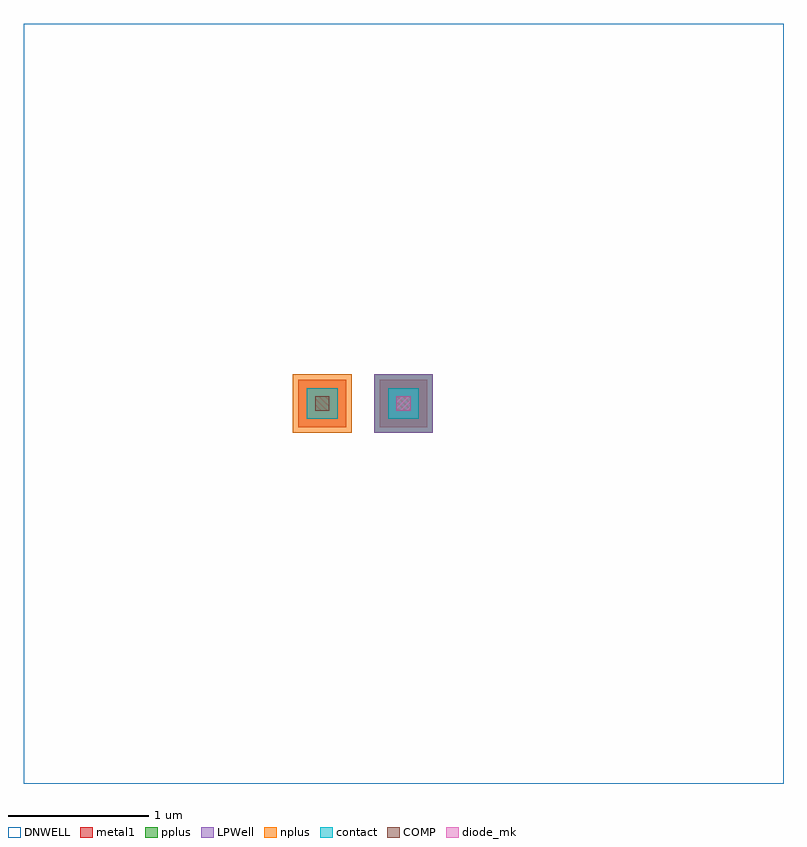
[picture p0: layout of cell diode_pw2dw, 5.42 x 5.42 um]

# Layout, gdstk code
import gdstk
lib = gdstk.Library(unit=1e-6, precision=1e-09)
def R(c, l, rs):  # rectangles x0, y0, x1, y1
    for r in rs: c.add(gdstk.rectangle(r[:2], r[2:], *l))
DNWELL = (12, 0)
COMP = (22, 0)
pplus = (31, 0)
nplus = (32, 0)
contact = (33, 0)
metal1 = (34, 0)
diode_mk = (115, 5)
LPWell = (204, 0)

compass_5c90cb24 = lib.new_cell('compass_5c90cb24')
R(compass_5c90cb24, COMP, [(-0.05,-0.05,0.05,0.05)])

rectangle_5c90cb24 = lib.new_cell('rectangle_5c90cb24')
rectangle_5c90cb24.add(gdstk.Reference(compass_5c90cb24, (0.05,0.05)))

compass_5f782b63 = lib.new_cell('compass_5f782b63')
R(compass_5f782b63, pplus, [(-0.21,-0.21,0.21,0.21)])

rectangle_5f782b63 = lib.new_cell('rectangle_5f782b63')
rectangle_5f782b63.add(gdstk.Reference(compass_5f782b63, (0.21,0.21)))

compass_cacfdad8 = lib.new_cell('compass_cacfdad8')
R(compass_cacfdad8, diode_mk, [(-0.05,-0.05,0.05,0.05)])

rectangle_cacfdad8 = lib.new_cell('rectangle_cacfdad8')
rectangle_cacfdad8.add(gdstk.Reference(compass_cacfdad8, (0.05,0.05)))

compass_28aa9406 = lib.new_cell('compass_28aa9406')
R(compass_28aa9406, LPWell, [(-0.21,-0.21,0.21,0.21)])

rectangle_28aa9406 = lib.new_cell('rectangle_28aa9406')
rectangle_28aa9406.add(gdstk.Reference(compass_28aa9406, (0.21,0.21)))

compass_f38dc993 = lib.new_cell('compass_f38dc993')
R(compass_f38dc993, contact, [(-0.11,-0.11,0.11,0.11)])

rectangle_f38dc993 = lib.new_cell('rectangle_f38dc993')
rectangle_f38dc993.add(gdstk.Reference(compass_f38dc993, (0.11,0.11)))

via_generator_fb634f5e = lib.new_cell('via_generator_fb634f5e')
r = gdstk.Reference(rectangle_f38dc993, (-0.06,-0.06)); r.repetition = gdstk.Repetition(1, 1, v1=(0.5,0), v2=(0,0.5)); via_generator_fb634f5e.add(r)

compass_02b66c81 = lib.new_cell('compass_02b66c81')
R(compass_02b66c81, metal1, [(-0.17,-0.17,0.17,0.17)])

rectangle_02b66c81 = lib.new_cell('rectangle_02b66c81')
rectangle_02b66c81.add(gdstk.Reference(compass_02b66c81, (0.17,0.17)))

via_stack_e72d222e = lib.new_cell('via_stack_e72d222e')
via_stack_e72d222e.add(gdstk.Reference(via_generator_fb634f5e, (0,0)))
via_stack_e72d222e.add(gdstk.Reference(rectangle_02b66c81, (-0.12,-0.12)))

compass_41a001d4 = lib.new_cell('compass_41a001d4')
R(compass_41a001d4, nplus, [(-0.21,-0.21,0.21,0.21)])

rectangle_41a001d4 = lib.new_cell('rectangle_41a001d4')
rectangle_41a001d4.add(gdstk.Reference(compass_41a001d4, (0.21,0.21)))

via_generator_9f1fa7ac = lib.new_cell('via_generator_9f1fa7ac')
r = gdstk.Reference(rectangle_f38dc993, (-0.64,-0.06)); r.repetition = gdstk.Repetition(1, 1, v1=(0.5,0), v2=(0,0.5)); via_generator_9f1fa7ac.add(r)

compass_8b7beeb3 = lib.new_cell('compass_8b7beeb3')
R(compass_8b7beeb3, metal1, [(-0.17,-0.17,0.17,0.17)])

rectangle_8b7beeb3 = lib.new_cell('rectangle_8b7beeb3')
rectangle_8b7beeb3.add(gdstk.Reference(compass_8b7beeb3, (0.17,0.17)))

via_stack_0f6901ba = lib.new_cell('via_stack_0f6901ba')
via_stack_0f6901ba.add(gdstk.Reference(via_generator_9f1fa7ac, (0,0)))
via_stack_0f6901ba.add(gdstk.Reference(rectangle_8b7beeb3, (-0.7,-0.12)))

compass_29313caf = lib.new_cell('compass_29313caf')
R(compass_29313caf, DNWELL, [(-2.71,-2.71,2.71,2.71)])

rectangle_29313caf = lib.new_cell('rectangle_29313caf')
rectangle_29313caf.add(gdstk.Reference(compass_29313caf, (2.71,2.71)))

diode_pw2dw = lib.new_cell('diode_pw2dw')
diode_pw2dw.add(gdstk.Reference(rectangle_5c90cb24, (0,0)))
diode_pw2dw.add(gdstk.Reference(rectangle_5f782b63, (-0.16,-0.16)))
diode_pw2dw.add(gdstk.Reference(rectangle_cacfdad8, (0,0)))
diode_pw2dw.add(gdstk.Reference(rectangle_28aa9406, (-0.16,-0.16)))
diode_pw2dw.add(gdstk.Reference(via_stack_e72d222e, (0,0)))
diode_pw2dw.add(gdstk.Reference(rectangle_5c90cb24, (-0.58,0)))
diode_pw2dw.add(gdstk.Reference(rectangle_41a001d4, (-0.74,-0.16)))
diode_pw2dw.add(gdstk.Reference(via_stack_0f6901ba, (0,0)))
diode_pw2dw.add(gdstk.Reference(rectangle_29313caf, (-2.66,-2.66)))

lib.write_gds('diode_pw2dw.gds')
